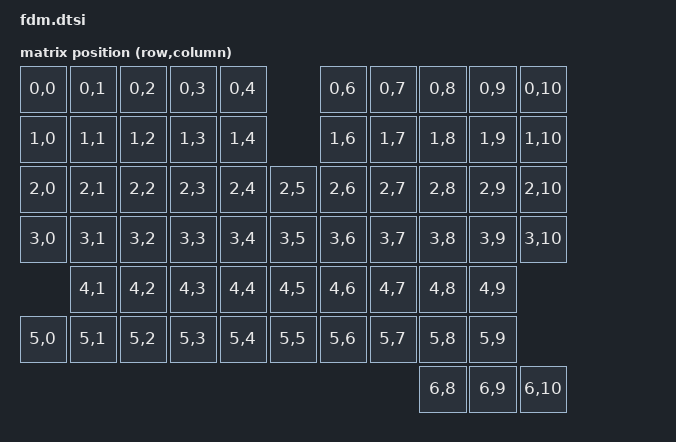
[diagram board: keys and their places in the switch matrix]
#include <dt-bindings/zmk/matrix_transform.h>
#include <physical_layouts.dtsi>

/ {

  chosen {
    zmk,physical-layout = &default_layout;
    zmk,kscan = &default_kscan;
    zmk,battery = &vbatt;
  };

  vbatt: vbatt {
    compatible = "zmk,battery-nrf-vddh";
  };

  default_layout: physical_layout_0 {
    compatible = "zmk,physical-layout";
    display-name = "Default layer";
    transform = <&default_transform>;
    keys  //                     w   h    x    y     rot    rx    ry
          = <&key_physical_attrs 100 100    0   40       0     0     0>
          , <&key_physical_attrs 100 100  100   27       0     0     0>
          , <&key_physical_attrs 100 100  200   32       0     0     0>
          , <&key_physical_attrs 100 100  300   32       0     0     0>
          , <&key_physical_attrs 100 100  400   32       0     0     0>
          , <&key_physical_attrs 100 100  700   42       0     0     0>
          , <&key_physical_attrs 100 100  800   29       0     0     0>
          , <&key_physical_attrs 100 100  900    0       0     0     0>
          , <&key_physical_attrs 100 100 1000   32       0     0     0>
          , <&key_physical_attrs 100 100 1100   95       0     0     0>
          , <&key_physical_attrs 100 100    0  150       0     0     0>
          , <&key_physical_attrs 100 100  100  132       0     0     0>
          , <&key_physical_attrs 100 100  200  130       0     0     0>
          , <&key_physical_attrs 100 100  300  130       0     0     0>
          , <&key_physical_attrs 100 100  400  130       0     0     0>
          , <&key_physical_attrs 100 100  700  142       0     0     0>
          , <&key_physical_attrs 100 100  800  129       0     0     0>
          , <&key_physical_attrs 100 100  900  100       0     0     0>
          , <&key_physical_attrs 100 100 1000  132       0     0     0>
          , <&key_physical_attrs 100 100 1100  195       0     0     0>
          , <&key_physical_attrs 100 100    0  270       0     0     0>
          , <&key_physical_attrs 100 100  100  229       0     0     0>
          , <&key_physical_attrs 100 100  200  230       0     0     0>
          , <&key_physical_attrs 100 100  300  229       0     0     0>
          , <&key_physical_attrs 100 100  400  229       0     0     0>
          , <&key_physical_attrs 100 100  700  242       0     0     0>
          , <&key_physical_attrs 100 100  800  229       0     0     0>
          , <&key_physical_attrs 100 100  200  230       0     0     0>
          , <&key_physical_attrs 100 100  300  229       0     0     0>
          , <&key_physical_attrs 100 100  400  229       0     0     0>
          , <&key_physical_attrs 100 100  700  242       0     0     0>
          , <&key_physical_attrs 100 100  800  229       0     0     0>
          , <&key_physical_attrs 100 100  900  200       0     0     0>
          , <&key_physical_attrs 100 100 1000  232       0     0     0>
          , <&key_physical_attrs 100 100 1100  295       0     0     0>
          , <&key_physical_attrs 100 100    0  375       0     0     0>
          , <&key_physical_attrs 100 100  100  328       0     0     0>
          , <&key_physical_attrs 100 100  200  328       0     0     0>
          , <&key_physical_attrs 100 100  300  328       0     0     0>
          , <&key_physical_attrs 100 100  400  328       0     0     0>
          , <&key_physical_attrs 100 100  700  350       0     0     0>
          , <&key_physical_attrs 100 100  800  330       0     0     0>
          , <&key_physical_attrs 100 100  900  320       0     0     0>
          , <&key_physical_attrs 100 100 1000  330       0     0     0>
          , <&key_physical_attrs 100 100 1100  390       0     0     0>
          , <&key_physical_attrs 100 100    0  475       0     0     0>
          , <&key_physical_attrs 100 100  100  430       0     0     0>
          , <&key_physical_attrs 100 100  200  430       0     0     0>
          , <&key_physical_attrs 100 100  300  430       0     0     0>
          , <&key_physical_attrs 100 100  400  430       0     0     0>
          , <&key_physical_attrs 100 100  700  440       0     0     0>
          , <&key_physical_attrs 100 100  800  430       0     0     0>
          , <&key_physical_attrs 100 100  900  420       0     0     0>
          , <&key_physical_attrs 100 100 1000  430       0     0     0>
          , <&key_physical_attrs 100 100 1100  490       0     0     0>
          , <&key_physical_attrs 100 100  100  530       0     0     0>
          , <&key_physical_attrs 100 100  200  530       0     0     0>
          , <&key_physical_attrs 100 100  900  530       0     0     0>
          , <&key_physical_attrs 100 100 1000  530       0     0     0>
          , <&key_physical_attrs 100 100  350  600    1500   430   455>
          , <&key_physical_attrs 100 100  450  580    1500   430   455>
          , <&key_physical_attrs 100 100  550  650    1500   430   455>
          , <&key_physical_attrs 100 100  600  700    3000   430   455>
          , <&key_physical_attrs 100 100  650  650    1500   430   455>
          , <&key_physical_attrs 100 100  700  700    3000   430   455>
          , <&key_physical_attrs 100 100  750  600       0     0     0>
          , <&key_physical_attrs 100 100  740  700       0     0     0>
          , <&key_physical_attrs 100 100  730  800       0     0     0>
          , <&key_physical_attrs 100 100  720  900       0     0     0>
         ;
  };

  //&default_layout {
  //  transform = <&default_transform>;
  //};

  default_kscan: kscan0 {
    compatible = "zmk,kscan-gpio-matrix";
    diode-direction = "col2row";
    wakeup-source;
  };

   default_transform: keymap_transform0 {
    compatible = "zmk,matrix-transform";
    columns = <13>;
    rows = <7>;
    map = <
      // LKey 1                                                 RKey 1
      RC(0,0) RC(0,1) RC(0,2) RC(0,3) RC(0,4)                   RC(0,6) RC(0,7) RC(0,8) RC(0,9) RC(0,10)
      RC(1,0) RC(1,1) RC(1,2) RC(1,3) RC(1,4)                   RC(1,6) RC(1,7) RC(1,8) RC(1,9) RC(1,10)
      RC(2,0) RC(2,1) RC(2,2) RC(2,3) RC(2,4) RC(2,5)           RC(2,6) RC(2,7) RC(2,8) RC(2,9) RC(2,10)
      RC(3,0) RC(3,1) RC(3,2) RC(3,3) RC(3,4) RC(3,5)           RC(3,6) RC(3,7) RC(3,8) RC(3,9) RC(3,10)
              RC(4,1) RC(4,2) RC(4,3) RC(4,4) RC(4,5)           RC(4,6) RC(4,7) RC(4,8) RC(4,9) 
      RC(5,0) RC(5,1) RC(5,2) RC(5,3) RC(5,4) RC(5,5)           RC(5,6) RC(5,7) RC(5,8) RC(5,9) 
                                                                                RC(6,8) RC(6,9) RC(6,10)
    >;
   };
};


